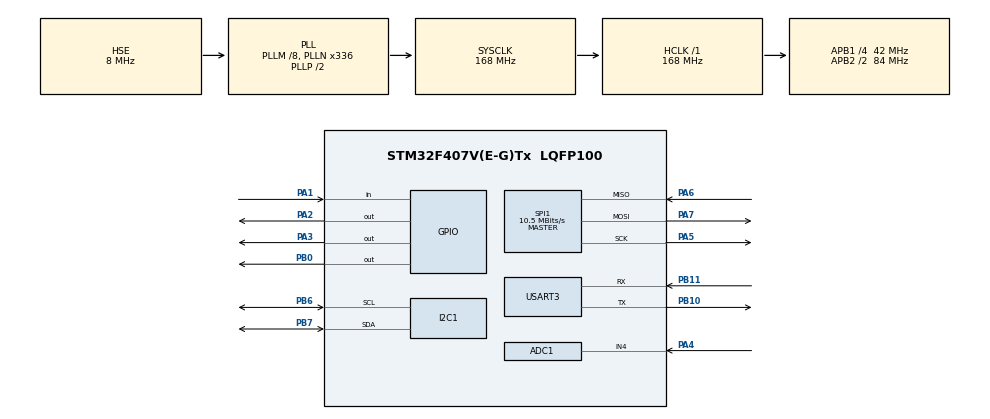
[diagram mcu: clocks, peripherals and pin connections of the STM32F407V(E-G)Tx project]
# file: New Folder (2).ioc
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ADC1.Channel-0\#ChannelRegularConversion=ADC_CHANNEL_4
ADC1.ContinuousConvMode=ENABLE
ADC1.DMAContinuousRequests=ENABLE
ADC1.NbrOfConversionFlag=1
ADC1.Rank-0\#ChannelRegularConversion=1
ADC1.SamplingTime-0\#ChannelRegularConversion=ADC_SAMPLETIME_480CYCLES
ADC1.ScanConvMode=ENABLE
ADC1.master=1
Dma.ADC1.0.Direction=DMA_PERIPH_TO_MEMORY
Dma.ADC1.0.FIFOMode=DMA_FIFOMODE_DISABLE
Dma.ADC1.0.Instance=DMA2_Stream0
Dma.ADC1.0.MemDataAlignment=DMA_MDATAALIGN_HALFWORD
Dma.ADC1.0.MemInc=DMA_MINC_ENABLE
Dma.ADC1.0.Mode=DMA_CIRCULAR
Dma.ADC1.0.PeriphDataAlignment=DMA_PDATAALIGN_HALFWORD
Dma.ADC1.0.PeriphInc=DMA_PINC_DISABLE
Dma.ADC1.0.Priority=DMA_PRIORITY_LOW
Dma.I2C1_RX.1.Direction=DMA_PERIPH_TO_MEMORY
Dma.I2C1_RX.1.FIFOMode=DMA_FIFOMODE_DISABLE
Dma.I2C1_RX.1.Instance=DMA1_Stream0
Dma.I2C1_RX.1.MemDataAlignment=DMA_MDATAALIGN_BYTE
Dma.I2C1_RX.1.MemInc=DMA_MINC_ENABLE
Dma.I2C1_RX.1.Mode=DMA_CIRCULAR
Dma.I2C1_RX.1.PeriphDataAlignment=DMA_PDATAALIGN_BYTE
Dma.I2C1_RX.1.PeriphInc=DMA_PINC_DISABLE
Dma.I2C1_RX.1.Priority=DMA_PRIORITY_LOW
Dma.Request0=ADC1
Dma.Request1=I2C1_RX
Dma.Request2=USART3_RX
Dma.Request3=USART3_TX
Dma.USART3_RX.2.Direction=DMA_PERIPH_TO_MEMORY
Dma.USART3_RX.2.FIFOMode=DMA_FIFOMODE_DISABLE
Dma.USART3_RX.2.Instance=DMA1_Stream1
Dma.USART3_RX.2.MemDataAlignment=DMA_MDATAALIGN_BYTE
Dma.USART3_RX.2.MemInc=DMA_MINC_ENABLE
Dma.USART3_RX.2.Mode=DMA_CIRCULAR
Dma.USART3_RX.2.PeriphDataAlignment=DMA_PDATAALIGN_BYTE
Dma.USART3_RX.2.PeriphInc=DMA_PINC_DISABLE
Dma.USART3_RX.2.Priority=DMA_PRIORITY_LOW
Dma.USART3_TX.3.Direction=DMA_MEMORY_TO_PERIPH
Dma.USART3_TX.3.FIFOMode=DMA_FIFOMODE_DISABLE
Dma.USART3_TX.3.Instance=DMA1_Stream3
Dma.USART3_TX.3.MemDataAlignment=DMA_MDATAALIGN_BYTE
Dma.USART3_TX.3.MemInc=DMA_MINC_ENABLE
Dma.USART3_TX.3.Mode=DMA_CIRCULAR
Dma.USART3_TX.3.PeriphDataAlignment=DMA_PDATAALIGN_BYTE
Dma.USART3_TX.3.PeriphInc=DMA_PINC_DISABLE
Dma.USART3_TX.3.Priority=DMA_PRIORITY_LOW
FATFS._MAX_SS=4096
FATFS._USE_LFN=1
I2C1.I2C_Mode=I2C_Fast
Mcu.Family=STM32F4
Mcu.Name=STM32F407V(E-G)Tx
Mcu.Package=LQFP100
NVIC.DMA1_Stream0_IRQn=true\:0\:0\:false\:false\:true\:false\:true
NVIC.DMA1_Stream1_IRQn=true\:0\:0\:false\:false\:true\:false\:true
NVIC.DMA1_Stream3_IRQn=true\:0\:0\:false\:false\:true\:false\:true
NVIC.DMA2_Stream0_IRQn=true\:0\:0\:false\:false\:true\:false\:true
NVIC.I2C1_EV_IRQn=true\:0\:0\:false\:false\:true\:true\:true
NVIC.PriorityGroup=NVIC_PRIORITYGROUP_4
NVIC.SPI1_IRQn=true\:0\:0\:false\:false\:true\:true\:true
NVIC.USART3_IRQn=true\:0\:0\:false\:false\:true\:true\:true
PA1.GPIO_PuPd=GPIO_PULLUP
PA1.Signal=GPIO_Input
PA2.GPIO_PuPd=GPIO_PULLUP
PA2.GPIO_Speed=GPIO_SPEED_FREQ_HIGH
PA2.Signal=GPIO_Output
PA3.GPIO_PuPd=GPIO_PULLUP
PA3.GPIO_Speed=GPIO_SPEED_FREQ_HIGH
PA3.PinState=GPIO_PIN_SET
PA3.Signal=GPIO_Output
PA4.Signal=ADCx_IN4
PA5.Mode=Full_Duplex_Master
PA5.Signal=SPI1_SCK
PA6.Mode=Full_Duplex_Master
PA6.Signal=SPI1_MISO
PA7.Mode=Full_Duplex_Master
PA7.Signal=SPI1_MOSI
PB0.Signal=GPIO_Output
PB10.Mode=Asynchronous
PB10.Signal=USART3_TX
PB11.Mode=Asynchronous
PB11.Signal=USART3_RX
PB6.Mode=I2C
PB6.Signal=I2C1_SCL
PB7.Mode=I2C
PB7.Signal=I2C1_SDA
PH0-OSC_IN.Mode=HSE-External-Oscillator
PH0-OSC_IN.Signal=RCC_OSC_IN
PH1-OSC_OUT.Mode=HSE-External-Oscillator
PH1-OSC_OUT.Signal=RCC_OSC_OUT
ProjectManager.HeapSize=0x200
ProjectManager.StackSize=0x400
ProjectManager.TargetToolchain=MDK-ARM V5.27
RCC.48MHZClocksFreq_Value=84000000
RCC.AHBFreq_Value=168000000
RCC.APB1CLKDivider=RCC_HCLK_DIV4
RCC.APB1Freq_Value=42000000
RCC.APB1TimFreq_Value=84000000
RCC.APB2CLKDivider=RCC_HCLK_DIV2
RCC.APB2Freq_Value=84000000
RCC.APB2TimFreq_Value=168000000
RCC.CortexFreq_Value=168000000
RCC.HCLKFreq_Value=168000000
RCC.HSE_VALUE=8000000
RCC.HSI_VALUE=16000000
RCC.LSE_VALUE=32768
RCC.PLLM=8
RCC.PLLN=336
RCC.PLLSourceVirtual=RCC_PLLSOURCE_HSE
RCC.SYSCLKFreq_VALUE=168000000
RCC.SYSCLKSource=RCC_SYSCLKSOURCE_PLLCLK
RCC.VCOOutputFreq_Value=336000000
SH.ADCx_IN4.0=ADC1_IN4,IN4
SPI1.BaudRatePrescaler=SPI_BAUDRATEPRESCALER_8
SPI1.CalculateBaudRate=10.5 MBits/s
SPI1.Direction=SPI_DIRECTION_2LINES
SPI1.Mode=SPI_MODE_MASTER
SPI1.VirtualType=VM_MASTER
TIM6.Period=0xFFFF-1
TIM6.Prescaler=168-1
USART3.Parity=PARITY_EVEN
USART3.VirtualMode=VM_ASYNC
USART3.WordLength=WORDLENGTH_9B
VP_FATFS_VS_Generic.Mode=User_defined
VP_TIM6_VS_ClockSourceINT.Mode=Enable_Timer
board=custom

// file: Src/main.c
#include "main.h"
#include "fatfs.h"
#include "fatfs_sd.h"
#include "string.h"
#include "stdio.h"
#include "BH1750.h"
#include "i2c-2004.h"
#include "DHT_22.h"
ADC_HandleTypeDef hadc1;
DMA_HandleTypeDef hdma_adc1;
I2C_HandleTypeDef hi2c1;
DMA_HandleTypeDef hdma_i2c1_rx;
SPI_HandleTypeDef hspi1;
TIM_HandleTypeDef htim6;
UART_HandleTypeDef huart3;
DMA_HandleTypeDef hdma_usart3_rx;
DMA_HandleTypeDef hdma_usart3_tx;
void SystemClock_Config(void);
static void MX_GPIO_Init(void);
static void MX_DMA_Init(void);
static void MX_SPI1_Init(void);
static void MX_ADC1_Init(void);
static void MX_I2C1_Init(void);
static void MX_TIM6_Init(void);
static void MX_USART3_UART_Init(void);

typedef struct {
	//err = false: can not get data, err = true: save into temp and rh
	bool dht22_err;		//whether dht22 meets error
	float temp;				//DHT22 - temp
	float rh;					//DHT22 - humidity
	uint16_t lx;			//BH1750 - lumen
	//Mode = 0 (Auto) - 1 (Manual); State = 0 (OFF) - 1 (ON)
	uint8_t mode;			//Relay auto/manual mode
	uint8_t state;		//Relay on/off
	bool scan_now;		//LCD update now or not
	uint8_t sleep;		//true: sleep in ... mins after ON, false: relay can be on
	uint8_t soil;			//soil moisture measurement
	bool relay_gui_on;//true = on, false = off:
	uint8_t hour;			//RTC current time
	uint8_t min;
	uint8_t sec;
	uint8_t h_start;	//GUI SetTime
	uint8_t m_start;
	//uint32_t checksum;
} controller;

//GUI <-> STM32
uint8_t send[33] = {0x00}, receive[16];
//DS1307
#define DS3231_ADD 0x68
uint8_t raw[3], receive_data[7], send_data[7];
uint8_t BCD2DEC(uint8_t data);
uint8_t DEC2BCD(uint8_t data);
void ds1307_cal(controller* ht);

//Main firmware functions
uint8_t read_dht22(float* t, float* rh);
uint16_t read_bh1750(BH1750_device_t* test_dev);
void lcd_show(controller* c);
void relay_on(controller* ht);
void relay_off(controller* ht);
uint8_t cal_mw(uint16_t* adc);
void send_uart(controller* ht);
void receive_uart_1(controller* ht);//Send cmd button relay on/off
void receive_uart_2(controller* ht);//Reset time RTC based on PC (GUI)
void receive_uart_3(controller* ht);//SetTime for relay on (Just start time)

//microSD variables and functions
FATFS fs;
FIL fil;
FRESULT fresult;
char buf_space[1024];
void leds_microSD(void);
void init_microSD(void);
void write_microSD(controller* ht);
void stop_microSD(void);

int main(void)
{
  HAL_Init();
  SystemClock_Config();
  MX_GPIO_Init();
  MX_DMA_Init();
  MX_SPI1_Init();
  MX_FATFS_Init();
  MX_ADC1_Init();
  MX_I2C1_Init();
  MX_TIM6_Init();
  MX_USART3_UART_Init();

	//Programming Codes
	//clear buffer receive[16];
	for(uint8_t i = 0; i<16; i++)
		receive[i] = 0x00;
	uint16_t adc[3];			//Raw ADC_value from Sensor
	HAL_ADC_Start_DMA(&hadc1, (uint32_t*)adc, 3);
	HAL_UART_Receive_DMA(&huart3, receive, 16);

	lcd_init();
  lcd_send_cmd (0x80|0x00);
  lcd_send_string("T= ");
  lcd_send_cmd (0x80|0x0A);
  lcd_send_string("RH= ");
	lcd_send_cmd (0x80|0x40);
  lcd_send_string("I= ");
	lcd_send_cmd (0x80|0x4B);
  lcd_send_string("Mw= ");		//Soil Humidity Display
	lcd_send_cmd (0x80|0x14);
  lcd_send_string("Relay: ");
	lcd_send_cmd (0x80|0x1E);
  lcd_send_string(" - ");
	lcd_send_cmd (0x80|0x54);
  lcd_send_string("Time:   :  :  ");
	BH1750_device_t* test_dev = BH1750_init_dev_struct(&hi2c1, "test device", true);
  BH1750_init_dev(test_dev);
	init_DHT22();
	controller* ht = (controller*)calloc(1, sizeof(controller));
	ht->state = 0; ht->mode = 0; ht->sleep = 0; ht->relay_gui_on = false;
	ht->h_start = 24; ht->m_start = 24;
	leds_microSD();
	init_microSD();

  while (1)
  {
		//Sensors Reading
		ht->dht22_err = read_dht22(&(ht->temp),&(ht->rh));
		ht->lx = read_bh1750(test_dev);
		ht->soil = cal_mw(adc);
		ds1307_cal(ht);

		receive_uart_1(ht);	//Send cmd button relay on/off
		receive_uart_3(ht);	//SetTime for relay on (Just start time)
		receive_uart_2(ht);	//Reset time RTC based on PC (GUI)

		relay_on(ht);
		relay_off(ht);
		send_uart(ht);			//8 bits data + 1 bit EVEN parity
		lcd_show(ht);

		write_microSD(ht);
		stop_microSD();
  }
}

void SystemClock_Config(void)
{
  RCC_OscInitTypeDef RCC_OscInitStruct = {0};
  RCC_ClkInitTypeDef RCC_ClkInitStruct = {0};

  /** Configure the main internal regulator output voltage
  */
  __HAL_RCC_PWR_CLK_ENABLE();
  __HAL_PWR_VOLTAGESCALING_CONFIG(PWR_REGULATOR_VOLTAGE_SCALE1);
  /** Initializes the RCC Oscillators according to the specified parameters
  * in the RCC_OscInitTypeDef structure.
  */
  RCC_OscInitStruct.OscillatorType = RCC_OSCILLATORTYPE_HSE;
  RCC_OscInitStruct.HSEState = RCC_HSE_ON;
  RCC_OscInitStruct.PLL.PLLState = RCC_PLL_ON;
  RCC_OscInitStruct.PLL.PLLSource = RCC_PLLSOURCE_HSE;
  RCC_OscInitStruct.PLL.PLLM = 8;
  RCC_OscInitStruct.PLL.PLLN = 336;
  RCC_OscInitStruct.PLL.PLLP = RCC_PLLP_DIV2;
  RCC_OscInitStruct.PLL.PLLQ = 4;
  if (HAL_RCC_OscConfig(&RCC_OscInitStruct) != HAL_OK)
  {
    Error_Handler();
  }
  /** Initializes the CPU, AHB and APB buses clocks
  */
  RCC_ClkInitStruct.ClockType = RCC_CLOCKTYPE_HCLK|RCC_CLOCKTYPE_SYSCLK
                              |RCC_CLOCKTYPE_PCLK1|RCC_CLOCKTYPE_PCLK2;
  RCC_ClkInitStruct.SYSCLKSource = RCC_SYSCLKSOURCE_PLLCLK;
  RCC_ClkInitStruct.AHBCLKDivider = RCC_SYSCLK_DIV1;
  RCC_ClkInitStruct.APB1CLKDivider = RCC_HCLK_DIV4;
  RCC_ClkInitStruct.APB2CLKDivider = RCC_HCLK_DIV2;

  if (HAL_RCC_ClockConfig(&RCC_ClkInitStruct, FLASH_LATENCY_5) != HAL_OK)
  {
    Error_Handler();
  }
}

static void MX_ADC1_Init(void)
{

  ADC_ChannelConfTypeDef sConfig = {0};

  /** Configure the global features of the ADC (Clock, Resolution, Data Alignment and number of conversion)
  */
  hadc1.Instance = ADC1;
  hadc1.Init.ClockPrescaler = ADC_CLOCK_SYNC_PCLK_DIV4;
  hadc1.Init.Resolution = ADC_RESOLUTION_12B;
  hadc1.Init.ScanConvMode = ENABLE;
  hadc1.Init.ContinuousConvMode = ENABLE;
  hadc1.Init.DiscontinuousConvMode = DISABLE;
  hadc1.Init.ExternalTrigConvEdge = ADC_EXTERNALTRIGCONVEDGE_NONE;
  hadc1.Init.ExternalTrigConv = ADC_SOFTWARE_START;
  hadc1.Init.DataAlign = ADC_DATAALIGN_RIGHT;
  hadc1.Init.NbrOfConversion = 1;
  hadc1.Init.DMAContinuousRequests = ENABLE;
  hadc1.Init.EOCSelection = ADC_EOC_SINGLE_CONV;
  if (HAL_ADC_Init(&hadc1) != HAL_OK)
  {
    Error_Handler();
  }
  /** Configure for the selected ADC regular channel its corresponding rank in the sequencer and its sample time.
  */
  sConfig.Channel = ADC_CHANNEL_4;
  sConfig.Rank = 1;
  sConfig.SamplingTime = ADC_SAMPLETIME_480CYCLES;
  if (HAL_ADC_ConfigChannel(&hadc1, &sConfig) != HAL_OK)
  {
    Error_Handler();
  }

}

static void MX_I2C1_Init(void)
{

  hi2c1.Instance = I2C1;
  hi2c1.Init.ClockSpeed = 400000;
  hi2c1.Init.DutyCycle = I2C_DUTYCYCLE_2;
  hi2c1.Init.OwnAddress1 = 0;
  hi2c1.Init.AddressingMode = I2C_ADDRESSINGMODE_7BIT;
  hi2c1.Init.DualAddressMode = I2C_DUALADDRESS_DISABLE;
  hi2c1.Init.OwnAddress2 = 0;
  hi2c1.Init.GeneralCallMode = I2C_GENERALCALL_DISABLE;
  hi2c1.Init.NoStretchMode = I2C_NOSTRETCH_DISABLE;
  if (HAL_I2C_Init(&hi2c1) != HAL_OK)
  {
    Error_Handler();
  }

}

static void MX_SPI1_Init(void)
{

  /* SPI1 parameter configuration*/
  hspi1.Instance = SPI1;
  hspi1.Init.Mode = SPI_MODE_MASTER;
  hspi1.Init.Direction = SPI_DIRECTION_2LINES;
  hspi1.Init.DataSize = SPI_DATASIZE_8BIT;
  hspi1.Init.CLKPolarity = SPI_POLARITY_LOW;
  hspi1.Init.CLKPhase = SPI_PHASE_1EDGE;
  hspi1.Init.NSS = SPI_NSS_SOFT;
  hspi1.Init.BaudRatePrescaler = SPI_BAUDRATEPRESCALER_8;
  hspi1.Init.FirstBit = SPI_FIRSTBIT_MSB;
  hspi1.Init.TIMode = SPI_TIMODE_DISABLE;
  hspi1.Init.CRCCalculation = SPI_CRCCALCULATION_DISABLE;
  hspi1.Init.CRCPolynomial = 10;
  if (HAL_SPI_Init(&hspi1) != HAL_OK)
  {
    Error_Handler();
  }

}

static void MX_TIM6_Init(void)
{

  TIM_MasterConfigTypeDef sMasterConfig = {0};

  htim6.Instance = TIM6;
  htim6.Init.Prescaler = 168-1;
  htim6.Init.CounterMode = TIM_COUNTERMODE_UP;
  htim6.Init.Period = 0xFFFF-1;
  htim6.Init.AutoReloadPreload = TIM_AUTORELOAD_PRELOAD_DISABLE;
  if (HAL_TIM_Base_Init(&htim6) != HAL_OK)
  {
    Error_Handler();
  }
  sMasterConfig.MasterOutputTrigger = TIM_TRGO_RESET;
  sMasterConfig.MasterSlaveMode = TIM_MASTERSLAVEMODE_DISABLE;
  if (HAL_TIMEx_MasterConfigSynchronization(&htim6, &sMasterConfig) != HAL_OK)
  {
    Error_Handler();
  }

}

static void MX_USART3_UART_Init(void)
{

  huart3.Instance = USART3;
  huart3.Init.BaudRate = 115200;
  huart3.Init.WordLength = UART_WORDLENGTH_9B;
  huart3.Init.StopBits = UART_STOPBITS_1;
  huart3.Init.Parity = UART_PARITY_EVEN;
  huart3.Init.Mode = UART_MODE_TX_RX;
  huart3.Init.HwFlowCtl = UART_HWCONTROL_NONE;
  huart3.Init.OverSampling = UART_OVERSAMPLING_16;
  if (HAL_UART_Init(&huart3) != HAL_OK)
  {
    Error_Handler();
  }

}

static void MX_DMA_Init(void)
{

  /* DMA controller clock enable */
  __HAL_RCC_DMA2_CLK_ENABLE();
  __HAL_RCC_DMA1_CLK_ENABLE();

  /* DMA interrupt init */
  /* DMA1_Stream0_IRQn interrupt configuration */
  HAL_NVIC_SetPriority(DMA1_Stream0_IRQn, 0, 0);
  HAL_NVIC_EnableIRQ(DMA1_Stream0_IRQn);
  /* DMA1_Stream1_IRQn interrupt configuration */
  HAL_NVIC_SetPriority(DMA1_Stream1_IRQn, 0, 0);
  HAL_NVIC_EnableIRQ(DMA1_Stream1_IRQn);
  /* DMA1_Stream3_IRQn interrupt configuration */
  HAL_NVIC_SetPriority(DMA1_Stream3_IRQn, 0, 0);
  HAL_NVIC_EnableIRQ(DMA1_Stream3_IRQn);
  /* DMA2_Stream0_IRQn interrupt configuration */
  HAL_NVIC_SetPriority(DMA2_Stream0_IRQn, 0, 0);
  HAL_NVIC_EnableIRQ(DMA2_Stream0_IRQn);

}

static void MX_GPIO_Init(void)
{
  GPIO_InitTypeDef GPIO_InitStruct = {0};

  /* GPIO Ports Clock Enable */
  __HAL_RCC_GPIOH_CLK_ENABLE();
  __HAL_RCC_GPIOA_CLK_ENABLE();
  __HAL_RCC_GPIOB_CLK_ENABLE();

  /*Configure GPIO pin Output Level */
  HAL_GPIO_WritePin(GPIOA, GPIO_PIN_2, GPIO_PIN_RESET);

  /*Configure GPIO pin Output Level */
  HAL_GPIO_WritePin(GPIOA, GPIO_PIN_3, GPIO_PIN_SET);

  /*Configure GPIO pin Output Level */
  HAL_GPIO_WritePin(GPIOB, GPIO_PIN_0, GPIO_PIN_RESET);

  /*Configure GPIO pin : PA1 */
  GPIO_InitStruct.Pin = GPIO_PIN_1;
  GPIO_InitStruct.Mode = GPIO_MODE_INPUT;
  GPIO_InitStruct.Pull = GPIO_PULLUP;
  HAL_GPIO_Init(GPIOA, &GPIO_InitStruct);

  /*Configure GPIO pins : PA2 PA3 */
  GPIO_InitStruct.Pin = GPIO_PIN_2|GPIO_PIN_3;
  GPIO_InitStruct.Mode = GPIO_MODE_OUTPUT_PP;
  GPIO_InitStruct.Pull = GPIO_PULLUP;
  GPIO_InitStruct.Speed = GPIO_SPEED_FREQ_HIGH;
  HAL_GPIO_Init(GPIOA, &GPIO_InitStruct);

  /*Configure GPIO pin : PB0 */
  GPIO_InitStruct.Pin = GPIO_PIN_0;
  GPIO_InitStruct.Mode = GPIO_MODE_OUTPUT_PP;
  GPIO_InitStruct.Pull = GPIO_NOPULL;
  GPIO_InitStruct.Speed = GPIO_SPEED_FREQ_LOW;
  HAL_GPIO_Init(GPIOB, &GPIO_InitStruct);

}

/* USER CODE BEGIN 4 */

void stop_microSD(void){
	if(HAL_GPIO_ReadPin(GPIOA,GPIO_PIN_0))
		{
			f_close(&fil);
			f_mount(NULL,"",1);
			//HAL_GPIO_WritePin(GPIOD,GPIO_PIN_14,GPIO_PIN_SET);
			//HAL_GPIO_WritePin(GPIOD,GPIO_PIN_13,GPIO_PIN_RESET);
		}
}

void write_microSD(controller* ht){
	static uint32_t last_5 = 0;
		if((uint32_t)(HAL_GetTick() - last_5) > 30000){
			sprintf(buf_space, "%d,%d,%d,%f,%f,",ht->hour,ht->min,ht->sec,ht->temp,ht->rh);
			f_puts(buf_space,&fil);
			sprintf(buf_space, "%d,%d,%d,%d\n",ht->lx,ht->soil,ht->state,ht->mode);
			f_puts(buf_space,&fil);
			//if(!HAL_GPIO_ReadPin(GPIOD, GPIO_PIN_14))
			//	HAL_GPIO_TogglePin(GPIOD,GPIO_PIN_13);
			last_5 = HAL_GetTick();
		}
}

void init_microSD(void){
	fresult = f_mount(&fs,"",0);
	fresult = f_open(&fil,"data.csv",FA_OPEN_ALWAYS|FA_READ|FA_WRITE);
	f_puts("Hour,Min,Sec,Temp.,RH,Light,Mw,State,Mode\n",&fil);
}

void leds_microSD(void){
	GPIO_InitTypeDef GPIO_InitStructure;
	__HAL_RCC_GPIOD_CLK_ENABLE();
  GPIO_InitStructure.Pin = GPIO_PIN_13;
	GPIO_InitStructure.Mode = GPIO_MODE_OUTPUT_PP;
	GPIO_InitStructure.Pull = GPIO_NOPULL;
	GPIO_InitStructure.Speed = GPIO_SPEED_HIGH;
	HAL_GPIO_Init(GPIOD,&GPIO_InitStructure);
	HAL_GPIO_WritePin(GPIOD,GPIO_PIN_13,GPIO_PIN_RESET);

	GPIO_InitStructure.Pin = GPIO_PIN_14;
	GPIO_InitStructure.Mode = GPIO_MODE_OUTPUT_PP;
	GPIO_InitStructure.Pull = GPIO_NOPULL;
	GPIO_InitStructure.Speed = GPIO_SPEED_HIGH;
	HAL_GPIO_Init(GPIOD,&GPIO_InitStructure);
	HAL_GPIO_WritePin(GPIOD,GPIO_PIN_14,GPIO_PIN_RESET);
}

void receive_uart_3(controller* ht){
	if(receive[0] == 'R' && receive[1] == 'S' && receive[2] == 'S' && receive[3] == 'T')
	{
		ht->h_start = (receive[5] - 0x30)*10 + receive[6] - 0x30;
		ht->m_start = (receive[9] - 0x30)*10 + receive[10] - 0x30;
		//clear buffer receive[16];
		for(uint8_t i = 0; i<16; i++)
			receive[i] = 0x00;
	}
	if(ht->hour == ht->h_start && ht->min == ht->m_start)
			ht->relay_gui_on = true;
}

void receive_uart_2(controller* ht){
	if(receive[0] == 'R' && receive[1] == 'S' && receive[2] == 'S' && receive[3] == 'S')
	{
		ht->hour = (receive[5] - 0x30)*10 + receive[6] - 0x30;
		ht->min = (receive[9] - 0x30)*10 + receive[10] - 0x30;
		ht->sec = (receive[13] - 0x30)*10 + receive[14] - 0x30;

		send_data[0]=DEC2BCD(ht->sec);
		send_data[1]=DEC2BCD(ht->min);
		send_data[2]=DEC2BCD(ht->hour);

		HAL_I2C_Mem_Write_IT(&hi2c1,DS3231_ADD<<1,0,I2C_MEMADD_SIZE_8BIT,send_data,3);//7);
		//clear buffer receive[16];
		for(uint8_t i = 0; i<16; i++)
			receive[i] = 0x00;
	}
}
void ds1307_cal(controller* ht){
	static uint32_t last_4 = 0;
	if((uint32_t)(HAL_GetTick() - last_4) > 100)
	{
		HAL_I2C_Mem_Read_IT(&hi2c1,DS3231_ADD<<1,0,I2C_MEMADD_SIZE_8BIT,receive_data,7);
		ht->sec=BCD2DEC(receive_data[0]);
		ht->min=BCD2DEC(receive_data[1]);
		ht->hour=BCD2DEC(receive_data[2]); //ht->scan_now = true;
		last_4 = HAL_GetTick();
	}
}

uint8_t BCD2DEC(uint8_t data){
	return (data>>4)*10 + (data&0x0f);
}

uint8_t DEC2BCD(uint8_t data){
	return (data/10)<<4|(data%10);
}

void send_uart(controller* ht){
	static uint32_t last_3 = 0;
	if((uint32_t)(HAL_GetTick() - last_3) > 1000)
	{
		send[0] = ((uint8_t)ht->temp / 100) % 10 + 0x30;
		send[1] = ((uint8_t)ht->temp / 10) % 10 + 0x30;
		send[2] = (uint8_t)ht->temp % 10 + 0x30;
		send[3] = 0x2C;				// ,
		send[4] = ((uint8_t)ht->rh / 100) % 10 + 0x30;
		send[5] = ((uint8_t)ht->rh / 10) % 10 + 0x30;
		send[6] = (uint8_t)ht->rh % 10 + 0x30;

		send[7] = 0x2C;				// ,
		send[8] = (ht->lx / 100000) % 10 + 0x30;
		send[9] = (ht->lx / 10000) % 10 + 0x30;
		send[10] = (ht->lx / 1000) % 10 + 0x30;
		send[11] = (ht->lx / 100) % 10 + 0x30;
		send[12] = (ht->lx / 10) % 10 + 0x30;
		send[13] = ht->lx % 10 + 0x30;

		send[14] = 0x2C;				// ,
		send[15] = (ht->soil / 100) % 10 + 0x30;
		send[16] = (ht->soil / 10) % 10 + 0x30;
		send[17] = ht->soil % 10 + 0x30;

		send[18] = 0x2C;				// ,
		send[19] = ht->state + 0x30;
		send[20] = 0x2C;				// ,
		send[21] = ht->mode + 0x30;

		send[22] = 0x2C;				// ,
		send[23] = (ht->hour / 10) % 10 + 0x30;
		send[24] = ht->hour % 10 + 0x30;

		send[25] = 0x2C;				// ,
		send[26] = (ht->min / 10) % 10 + 0x30;
		send[27] = ht->min % 10 + 0x30;

		send[28] = 0x2C;				// ,
		send[29] = (ht->sec / 10) % 10 + 0x30;
		send[30] = ht->sec % 10 + 0x30;

		send[31] = 0x0D;				// /r
		send[32] = 0x0A;				// /n

		HAL_UART_Transmit_IT(&huart3, send, 33);
		last_3 = HAL_GetTick();
	}
}

void receive_uart_1(controller* ht){
	if(receive[0] == 'R' && receive[1] == 'S' && receive[2] == '1' && receive[3] == 'O')
	{
		ht->relay_gui_on = true;
		//clear buffer receive[16];
		for(uint8_t i = 0; i<16; i++)
			receive[i] = 0x00;
	}
}

uint8_t cal_mw(uint16_t* adc){
	return (uint8_t)((4096.0 - (float)(*adc))/4096.0*100.0);
}

void relay_off(controller* ht){
	//Turn OFF the relay after 1 mins. (Back to Auto or already Auto)
	static uint32_t last_2 = 0;
	if((uint32_t)(HAL_GetTick() - last_2) > 60000){
		if(ht->sleep){
			ht->sleep = 0;
		}
		if(ht->state){
			HAL_GPIO_WritePin(GPIOA, GPIO_PIN_2, GPIO_PIN_RESET);
			ht->mode = 0; ht->state = 0;
			ht->scan_now = true;
			ht->sleep = 1;					//Turn ON sleep-mode flag
		}
		last_2 = HAL_GetTick();
	}
}

void relay_on(controller* ht){
	//Button triggering and Relay
	if((!HAL_GPIO_ReadPin(GPIOA, GPIO_PIN_1) || ht->relay_gui_on) && !(ht->sleep)){
	//Button PRESS (Auto -> Manual)
		HAL_GPIO_WritePin(GPIOA, GPIO_PIN_2, GPIO_PIN_SET);
		ht->mode = 1; ht->state = 1;
		//ht->scan_now = true;//Refresh LCD right now
		ht->relay_gui_on = false;
	}else{
	//Sensor Conditioning (Still Auto)
		if((ht->temp > 40 || ht->rh < 40 || ht->lx > 1000 || (ht->soil < 20 && ht->soil > 10)) && ht->rh > 0 && !(ht->sleep)){
			HAL_GPIO_WritePin(GPIOA, GPIO_PIN_2, GPIO_PIN_SET);
			ht->state = 1;
		}
	}
}

void lcd_show(controller* c){
	char buffer[10];	//For lcd_show
	static uint32_t lastScan = 0;
  if ((HAL_GetTick() - lastScan > 1000) || c->scan_now){
		lcd_send_cmd(0x80|0x03);
		lcd_send_string("       ");
		lcd_send_cmd(0x80|0x0D);
		lcd_send_string("       ");
		if(c->dht22_err){
			//Temp. Display
			sprintf(buffer, "%0.1f", c->temp);
			lcd_send_cmd(0x80|0x03);
			lcd_send_string(buffer);
			lcd_send_string("*C");
			//Humidity Display
			sprintf(buffer, "%0.1f", c->rh);
			lcd_send_cmd(0x80|0x0D);
			lcd_send_string(buffer);
			lcd_send_string("%");
		}else{//When DHT22 meets ERROR
			lcd_send_cmd(0x80|0x03);
			lcd_send_string("ERROR");
			lcd_send_cmd(0x80|0x0D);
			lcd_send_string("ERROR");
		}
		//Display Luminosity
		lcd_send_cmd (0x80|0x43);
		lcd_send_string("        ");
		lcd_send_cmd (0x80|0x43);
		sprintf(buffer, "%d", c->lx);
		lcd_send_string(buffer);
		lcd_send_string("Lx");
		//Display Soil Mw
		lcd_send_cmd (0x80|0x4F);
		lcd_send_string("    ");
		lcd_send_cmd (0x80|0x4F);
		sprintf(buffer, "%d", c->soil);
		lcd_send_string(buffer);
		lcd_send_string("%");
		//Display Relay States
		if(!(c->state)){
			lcd_send_cmd (0x80|0x1B);
			lcd_send_string("OFF");
		}else{
			lcd_send_cmd (0x80|0x1B);
			lcd_send_string("ON ");
		}
		//Relay in AUTO//MANUAL MODE
		if(!(c->mode)){
			lcd_send_cmd (0x80|0x21);
			lcd_send_string("AUTO  ");
		}else{
			lcd_send_cmd (0x80|0x21);
			lcd_send_string("MANUAL");
		}
		//Time from RTC
		lcd_send_cmd (0x80|0x5A);
		lcd_send_string("  :  :    ");
		lcd_send_cmd (0x80|0x5A);
		sprintf(buffer, "%d", c->hour);
		lcd_send_string(buffer);
		lcd_send_cmd (0x80|0x5D);
		sprintf(buffer, "%d", c->min);
		lcd_send_string(buffer);
		lcd_send_cmd (0x80|0x60);
		sprintf(buffer, "%d", c->sec);
		lcd_send_string(buffer);
		//RESET to Refreshing Freq. = 1Hz
		c->scan_now = false;
		lastScan = HAL_GetTick();
	}
}

bool read_dht22(float* t, float* rh){
	uint8_t d[5];
	bool ret;
	uint16_t cal;
	static uint32_t last_1 = 0;
	//Max Sampling Freq. of DHT22 = 2 sec.
	if((uint32_t)(HAL_GetTick() - last_1) > 2000){
		if(DHT22_Check_Response(d)){
			//Temp. Calculation
			cal = d[2]&0x7F; cal*=256;
			cal += d[3]; *t = cal*0.1;
			if(d[2] & 0x80)	*t*=-1;
			//Humidity Calculation
			cal = d[0]; cal*=256;
			cal += d[1]; *rh = cal*0.1;
			//Read OK
			ret = true;
		}
		else {
			ret = false;//Read not OK -> ERROR
		}
		last_1 = HAL_GetTick();
	}
	return ret;
}

uint16_t read_bh1750(BH1750_device_t* test_dev){
	static uint32_t last = 0;
	if((uint32_t)(HAL_GetTick() - last) > 200)
	{
		//Read and compute luminosity in 200ms
		test_dev->poll(test_dev);
		last = HAL_GetTick();
	}
	return test_dev->value;
}

/* USER CODE END 4 */

void Error_Handler(void)
{
  __disable_irq();
  while (1)
  {
  }
}

/************************ (C) COPYRIGHT STMicroelectronics *****END OF FILE****/
